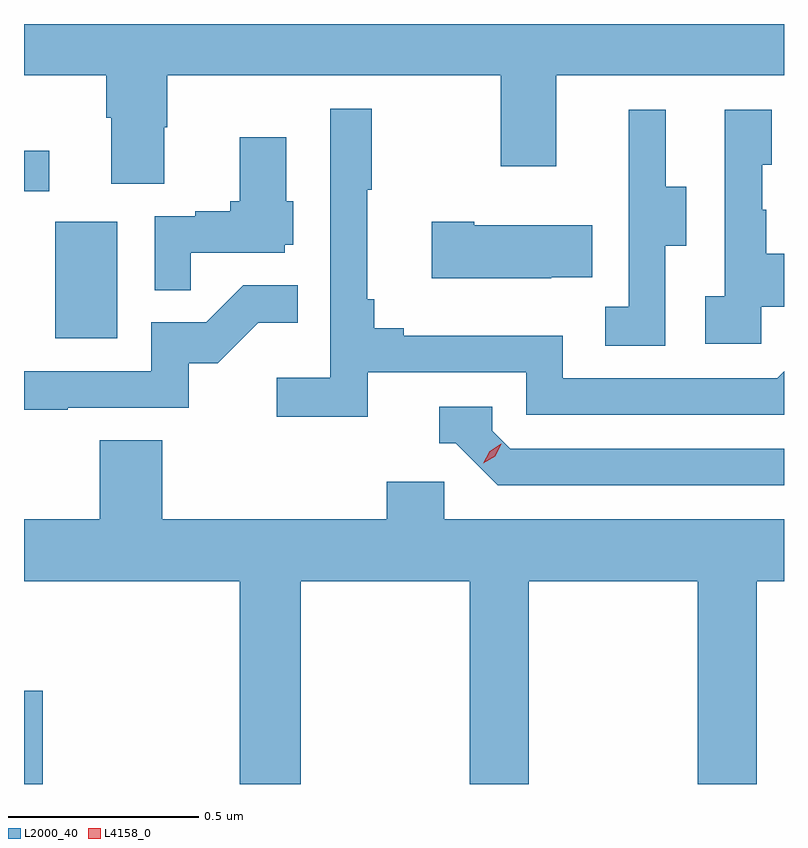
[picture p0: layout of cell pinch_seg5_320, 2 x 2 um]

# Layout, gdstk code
import gdstk
lib = gdstk.Library(unit=1e-6, precision=1e-09)
def R(c, l, rs):  # rectangles x0, y0, x1, y1
    for r in rs: c.add(gdstk.rectangle(r[:2], r[2:], *l))
def P(c, l, *ps):  # polygons
    for p in ps: c.add(gdstk.Polygon(p, *l))
L2000_40 = (2000, 40)
L4158_0 = (4158, 0)

pinch_seg5_320 = lib.new_cell('pinch_seg5_320')
R(pinch_seg5_320, L2000_40, [(937.132,892.191,937.181,892.436), (937.214,893.364,937.378,893.671), (937.132,893.751,937.198,893.857)])
P(pinch_seg5_320, L2000_40, [(937.501,893.919),(937.509,893.919),(937.509,894.056),(938.386,894.056),(938.386,893.817),(938.533,893.817),(938.533,894.056),(939.132,894.056),(939.132,894.191),(937.132,894.191),(937.132,894.056),(937.349,894.056),(937.349,893.944),(937.361,893.944),(937.361,893.77),(937.501,893.77)],
  [(938.036,893.274),(938.454,893.274),(938.454,893.163),(939.132,893.163),(939.132,893.277),(939.114,893.259),(938.55,893.259),(938.55,893.371),(938.131,893.371),(938.131,893.39),(938.054,893.39),(938.054,893.467),(938.035,893.467),(938.035,893.755),(938.047,893.755),(938.047,893.968),(937.938,893.968),(937.938,893.26),(937.797,893.26),(937.797,893.158),(938.036,893.158)],
  [(939.072,893.447),(939.132,893.447),(939.132,893.587),(939.085,893.587),(939.085,893.702),(939.075,893.702),(939.075,893.82),(939.1,893.82),(939.1,893.965),(938.976,893.965),(938.976,893.474),(938.925,893.474),(938.925,893.349),(939.072,893.349)],
  [(938.82,893.608),(938.875,893.608),(938.875,893.763),(938.821,893.763),(938.821,893.965),(938.723,893.965),(938.723,893.751),(938.724,893.751),(938.724,893.447),(938.661,893.447),(938.661,893.344),(938.82,893.344)],
  [(937.571,893.589),(937.818,893.589),(937.818,893.61),(937.84,893.61),(937.84,893.724),(937.822,893.724),(937.822,893.893),(937.7,893.893),(937.7,893.724),(937.675,893.724),(937.675,893.698),(937.583,893.698),(937.583,893.685),(937.476,893.685),(937.476,893.491),(937.571,893.491)],
  [(938.519,893.525),(938.627,893.525),(938.627,893.662),(938.317,893.662),(938.317,893.67),(938.205,893.67),(938.205,893.522),(938.519,893.522)],
  [(937.247,893.181),(937.566,893.181),(937.566,893.298),(937.642,893.298),(937.749,893.405),(937.853,893.405),(937.853,893.504),(937.709,893.504),(937.611,893.406),(937.467,893.406),(937.467,893.277),(937.132,893.277),(937.132,893.176),(937.247,893.176)],
  [(939.132,893.073),(938.412,893.073),(938.364,893.121),(938.364,893.184),(938.225,893.184),(938.225,893.088),(938.268,893.088),(938.379,892.977),(939.132,892.977)],
  [(937.86,892.724),(938.305,892.724),(938.305,892.191),(938.46,892.191),(938.46,892.724),(938.905,892.724),(938.905,892.191),(939.06,892.191),(939.06,892.724),(939.132,892.724),(939.132,892.888),(938.238,892.888),(938.238,892.986),(938.087,892.986),(938.087,892.888),(937.496,892.888),(937.496,893.096),(937.331,893.096),(937.331,892.888),(937.132,892.888),(937.132,892.724),(937.7,892.724),(937.7,892.191),(937.86,892.191)])
P(pinch_seg5_320, L4158_0, [(938.341,893.035),(938.341,893.035),(938.357,893.067),(938.388,893.087),(938.388,893.087),(938.388,893.086),(938.372,893.054),(938.341,893.035)])

lib.write_gds('pinch_seg5_320.gds')
